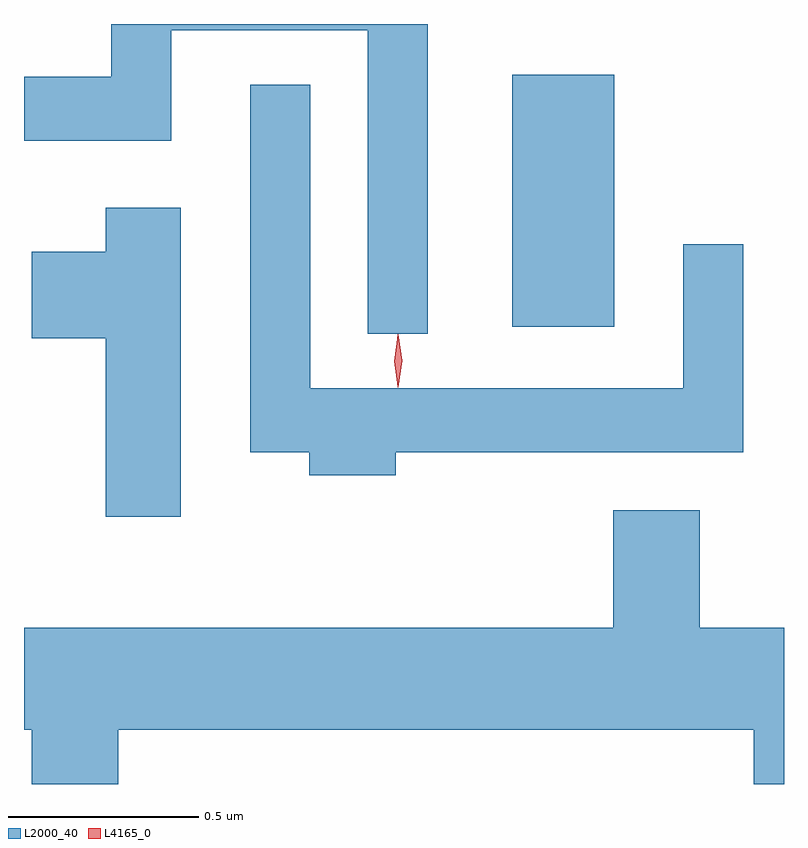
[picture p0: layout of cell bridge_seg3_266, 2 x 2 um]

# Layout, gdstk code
import gdstk
lib = gdstk.Library(unit=1e-6, precision=1e-09)
def R(c, l, rs):  # rectangles x0, y0, x1, y1
    for r in rs: c.add(gdstk.rectangle(r[:2], r[2:], *l))
def P(c, l, *ps):  # polygons
    for p in ps: c.add(gdstk.Polygon(p, *l))
L2000_40 = (2000, 40)
L4165_0 = (4165, 0)

bridge_seg3_266 = lib.new_cell('bridge_seg3_266')
R(bridge_seg3_266, L2000_40, [(1077.726,1144.836,1077.994,1145.499)])
P(bridge_seg3_266, L2000_40, [(1077.504,1145.633),(1076.671,1145.633),(1076.671,1145.494),(1076.441,1145.494),(1076.441,1145.326),(1076.829,1145.326),(1076.829,1145.616),(1077.346,1145.616),(1077.346,1144.818),(1077.504,1144.818)],
  [(1077.419,1144.506),(1078.334,1144.506),(1078.334,1145.053),(1078.176,1145.053),(1078.176,1144.674),(1077.194,1144.674),(1077.194,1145.473),(1077.036,1145.473),(1077.036,1144.506),(1077.191,1144.506),(1077.191,1144.446),(1077.419,1144.446)],
  [(1076.854,1145.149),(1076.656,1145.149),(1076.656,1145.034),(1076.461,1145.034),(1076.461,1144.806),(1076.656,1144.806),(1076.656,1144.336),(1076.854,1144.336)],
  [(1076.689,1143.776),(1078.361,1143.776),(1078.361,1143.633),(1078.441,1143.633),(1078.441,1144.044),(1078.219,1144.044),(1078.219,1144.354),(1077.991,1144.354),(1077.991,1144.044),(1076.441,1144.044),(1076.441,1143.776),(1076.461,1143.776),(1076.461,1143.633),(1076.689,1143.633)])
P(bridge_seg3_266, L4165_0, [(1077.425,1144.679),(1077.425,1144.68),(1077.415,1144.746),(1077.425,1144.812),(1077.425,1144.813),(1077.426,1144.812),(1077.435,1144.746),(1077.426,1144.68)],
  [(1077.425,1144.677),(1077.416,1144.747),(1077.425,1144.816),(1077.426,1144.816),(1077.426,1144.816),(1077.436,1144.747),(1077.426,1144.677),(1077.426,1144.677)])

lib.write_gds('bridge_seg3_266.gds')
